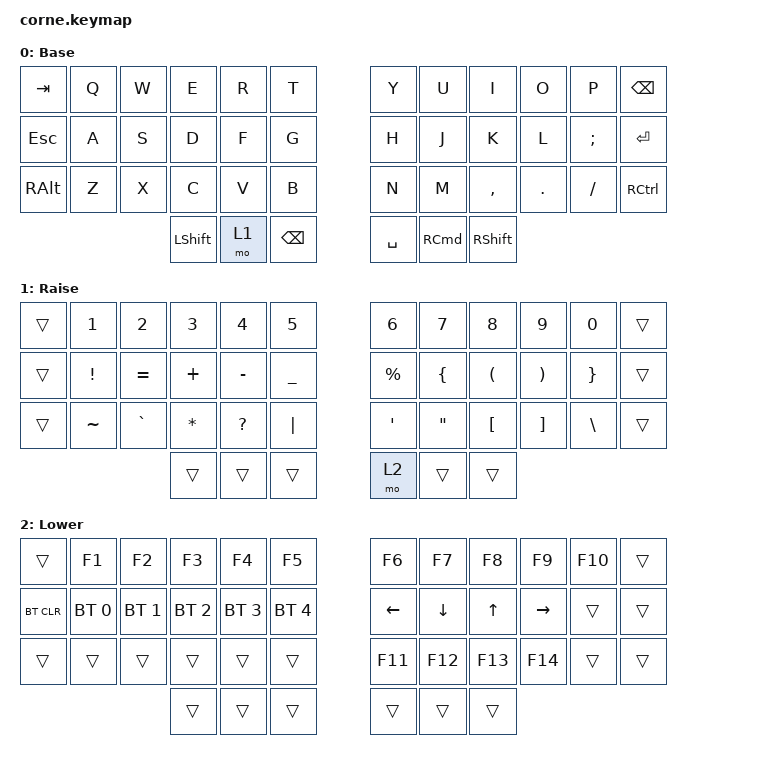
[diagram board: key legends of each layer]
/*
 * Copyright (c) 2020 The ZMK Contributors
 *
 * SPDX-License-Identifier: MIT
 */

#include <behaviors.dtsi>
#include <dt-bindings/zmk/bt.h>
#include <dt-bindings/zmk/keys.h>

/ {
    keymap {
        compatible = "zmk,keymap";

        default_layer {
            // -----------------------------------------------------------------------------------------
            // |  TAB |  Q  |  W  |  E  |  R  |  T  |   |  Y  |  U   |  I  |  O  |  P  | BKSP |
            // | CTRL |  A  |  S  |  D  |  F  |  G  |   |  H  |  J   |  K  |  L  |  ;  |  '   |
            // | SHFT |  Z  |  X  |  C  |  V  |  B  |   |  N  |  M   |  ,  |  .  |  /  | ESC  |
            //                    | GUI | LWR | SPC |   | ENT | RSE  | ALT |

            display-name = "Base";
            bindings = <
&kp TAB        &kp Q  &kp W  &kp E           &kp R  &kp T            &kp Y      &kp U              &kp I            &kp O    &kp P     &kp BSPC
&kp ESCAPE     &kp A  &kp S  &kp D           &kp F  &kp G            &kp H      &kp J              &kp K            &kp L    &kp SEMI  &kp ENTER
&kp RIGHT_ALT  &kp Z  &kp X  &kp C           &kp V  &kp B            &kp N      &kp M              &kp COMMA        &kp DOT  &kp FSLH  &kp RIGHT_CONTROL
                             &kp LEFT_SHIFT  &mo 1  &kp BACKSPACE    &kp SPACE  &kp RIGHT_COMMAND  &kp RIGHT_SHIFT
            >;
        };

        raise_layer {
            // -----------------------------------------------------------------------------------------
            // |  TAB |  !  |  @  |  #  |  $  |  %  |   |  ^  |  &  |  *  |  (  |  )  | BKSP |
            // | CTRL |     |     |     |     |     |   |  -  |  =  |  [  |  ]  |  \  |  `   |
            // | SHFT |     |     |     |     |     |   |  _  |  +  |  {  |  }  | "|" |  ~   |
            //                    | GUI |     | SPC |   | ENT |     | ALT |

            display-name = "Raise";
            bindings = <
&trans  &kp NUMBER_1     &kp NUMBER_2  &kp NUMBER_3  &kp NUMBER_4  &kp NUMBER_5      &kp NUMBER_6  &kp NUMBER_7       &kp NUMBER_8          &kp NUMBER_9           &kp NUMBER_0     &trans
&trans  &kp EXCLAMATION  &kp EQUAL     &kp PLUS      &kp MINUS     &kp UNDERSCORE    &kp PERCENT   &kp LEFT_BRACE     &kp LEFT_PARENTHESIS  &kp RIGHT_PARENTHESIS  &kp RIGHT_BRACE  &trans
&trans  &kp TILDE        &kp GRAVE     &kp ASTERISK  &kp QUESTION  &kp PIPE          &kp SQT       &kp DOUBLE_QUOTES  &kp LEFT_BRACKET      &kp RIGHT_BRACKET      &kp BACKSLASH    &trans
                                       &trans        &trans        &trans            &mo 2         &trans             &trans
            >;
        };

        lower_layer {
            // -----------------------------------------------------------------------------------------
            // |  TAB |  1  |  2  |  3  |  4  |  5  |   |  6  |  7  |  8  |  9  |  0  | BKSP |
            // | BTCLR| BT1 | BT2 | BT3 | BT4 | BT5 |   | LFT | DWN |  UP | RGT |     |      |
            // | SHFT |     |     |     |     |     |   |     |     |     |     |     |      |
            //                    | GUI |     | SPC |   | ENT |     | ALT |

            display-name = "Lower";
            bindings = <
&trans      &kp F1        &kp F2        &kp F3        &kp F4        &kp F5          &kp F6    &kp F7    &kp F8   &kp F9     &kp F10  &trans
&bt BT_CLR  &bt BT_SEL 0  &bt BT_SEL 1  &bt BT_SEL 2  &bt BT_SEL 3  &bt BT_SEL 4    &kp LEFT  &kp DOWN  &kp UP   &kp RIGHT  &trans   &trans
&trans      &trans        &trans        &trans        &trans        &trans          &kp F11   &kp F12   &kp F13  &kp F14    &trans   &trans
                                        &trans        &trans        &trans          &trans    &trans    &trans
            >;
        };

        extra_1 { status = "reserved"; };

        extra_2 { status = "reserved"; };

        extra_3 { status = "reserved"; };
    };
};
